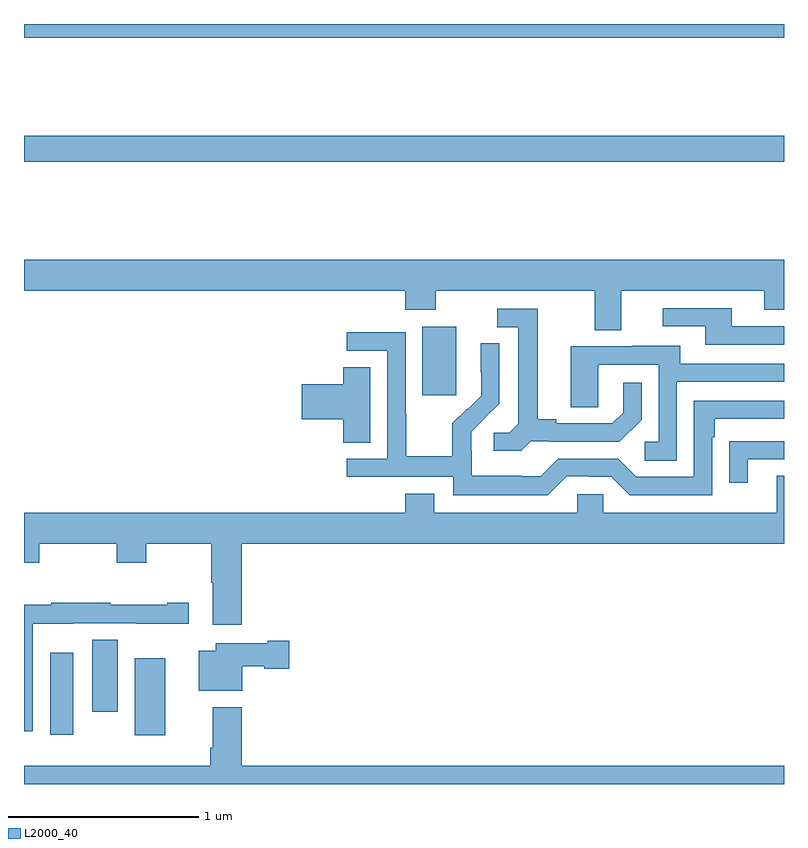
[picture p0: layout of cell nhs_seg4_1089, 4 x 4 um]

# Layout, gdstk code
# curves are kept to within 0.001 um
import gdstk
lib = gdstk.Library(unit=1e-6, precision=1e-09)
def R(c, l, rs):  # rectangles x0, y0, x1, y1
    for r in rs: c.add(gdstk.rectangle(r[:2], r[2:], *l))
def P(c, l, *ps):  # polygons
    for p in ps: c.add(gdstk.Polygon(p, *l))
L2000_40 = (2000, 40)

nhs_seg4_1089 = lib.new_cell('nhs_seg4_1089')
R(nhs_seg4_1089, L2000_40, [(167.582,785.157,167.743,785.563), (167.138,785.16,167.26,785.59), (167.36,785.28,167.494,785.66), (169.097,786.945,169.276,787.306), (167,788.176,171,788.312), (167,788.828,171,788.9)])
P(nhs_seg4_1089, L2000_40, [(170.143,787.496),(170.897,787.496),(170.897,787.397),(171,787.397),(171,787.66),(167,787.66),(167,787.496),(169.007,787.496),(169.007,787.397),(169.167,787.397),(169.167,787.496),(170.003,787.496),(170.003,787.288),(170.143,787.288)],
  [(171,787.308),(170.725,787.308),(170.725,787.404),(170.361,787.404),(170.361,787.308),(170.585,787.308),(170.585,787.212),(171,787.212)],
  [(169.668,786.705),(169.762,786.705),(169.762,786.702),(170.134,786.702),(170.25,786.818),(170.25,787.012),(170.153,787.012),(170.153,786.855),(170.096,786.798),(169.801,786.798),(169.801,786.821),(169.705,786.821),(169.705,787.401),(169.491,787.401),(169.491,787.305),(169.601,787.305),(169.601,786.797),(169.554,786.75),(169.473,786.75),(169.473,786.653),(169.616,786.653)],
  [(169.857,786.519),(169.973,786.519),(169.973,786.516),(170.091,786.516),(170.187,786.42),(170.622,786.42),(170.622,786.725),(170.635,786.725),(170.635,786.822),(171,786.822),(171,786.918),(170.526,786.918),(170.526,786.516),(170.223,786.516),(170.127,786.612),(169.812,786.612),(169.719,786.519),(169.619,786.519),(169.619,786.523),(169.356,786.523),(169.356,786.657),(169.354,786.657),(169.354,786.754),(169.5,786.902),(169.5,787.22),(169.404,787.22),(169.404,787.066),(169.406,787.066),(169.406,786.944),(169.335,786.873),(169.332,786.876),(169.255,786.799),(169.255,786.625),(169.011,786.625),(169.011,786.848),(169.008,786.848),(169.008,787.278),(168.699,787.278),(168.699,787.179),(168.912,787.179),(168.912,786.612),(168.699,786.612),(168.699,786.516),(169.26,786.516),(169.26,786.419),(169.757,786.419)],
  [(170.436,787.017),(171,787.017),(171,787.113),(170.455,787.113),(170.455,787.207),(170.201,787.207),(170.201,787.203),(169.877,787.203),(169.877,786.883),(170.022,786.883),(170.022,787.107),(170.34,787.107),(170.34,786.702),(170.268,786.702),(170.268,786.601),(170.436,786.601)],
  [(168.823,787.094),(168.68,787.094),(168.68,787.004),(168.462,787.004),(168.462,786.821),(168.68,786.821),(168.68,786.697),(168.823,786.697)],
  [(170.809,786.609),(171,786.609),(171,786.705),(170.815,786.705),(170.815,786.704),(170.713,786.704),(170.713,786.486),(170.809,786.486)],
  [(168.146,786.164),(171,786.164),(171,786.523),(170.963,786.523),(170.963,786.328),(170.049,786.328),(170.049,786.426),(169.911,786.426),(169.911,786.328),(169.159,786.328),(169.159,786.427),(169.007,786.427),(169.007,786.328),(167,786.328),(167,786.065),(167.079,786.065),(167.079,786.164),(167.488,786.164),(167.488,786.065),(167.643,786.065),(167.643,786.164),(167.986,786.164),(167.986,785.96),(167.993,785.96),(167.993,785.739),(168.146,785.739)],
  [(167.046,785.744),(167.256,785.744),(167.256,785.745),(167.59,785.745),(167.59,785.744),(167.866,785.744),(167.866,785.854),(167.753,785.854),(167.753,785.844),(167.453,785.844),(167.453,785.854),(167.143,785.854),(167.143,785.844),(167,785.844),(167,785.178),(167.046,785.178)],
  [(168.148,785.519),(168.264,785.519),(168.264,785.507),(168.397,785.507),(168.397,785.654),(168.284,785.654),(168.284,785.641),(168.008,785.641),(168.008,785.602),(167.921,785.602),(167.921,785.39),(168.148,785.39)],
  [(171,784.996),(168.146,784.996),(168.146,785.305),(167.993,785.305),(167.993,785.092),(167.981,785.092),(167.981,784.996),(167,784.996),(167,784.9),(171,784.9)])

lib.write_gds('nhs_seg4_1089.gds')
